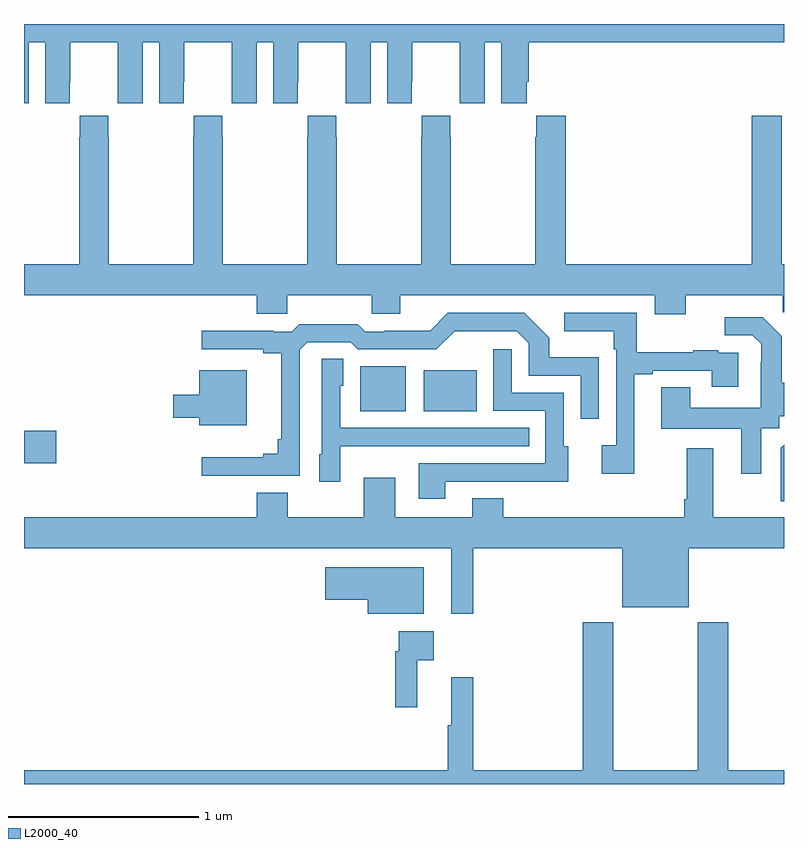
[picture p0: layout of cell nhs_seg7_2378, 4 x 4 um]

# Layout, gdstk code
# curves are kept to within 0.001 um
import gdstk
lib = gdstk.Library(unit=1e-6, precision=1e-09)
def R(c, l, rs):  # rectangles x0, y0, x1, y1
    for r in rs: c.add(gdstk.rectangle(r[:2], r[2:], *l))
def P(c, l, *ps):  # polygons
    for p in ps: c.add(gdstk.Polygon(p, *l))
L2000_40 = (2000, 40)

nhs_seg7_2378 = lib.new_cell('nhs_seg7_2378')
R(nhs_seg7_2378, L2000_40, [(265,1043.687,265.171,1043.858), (266.771,1043.963,267.01,1044.199), (267.104,1043.963,267.382,1044.178)])
P(nhs_seg7_2378, L2000_40, [(265.024,1045.904),(265.112,1045.904),(265.112,1045.584),(265.242,1045.584),(265.242,1045.696),(265.243,1045.696),(265.243,1045.904),(265.493,1045.904),(265.493,1045.696),(265.494,1045.696),(265.494,1045.584),(265.624,1045.584),(265.624,1045.904),(265.712,1045.904),(265.712,1045.584),(265.842,1045.584),(265.842,1045.696),(265.843,1045.696),(265.843,1045.904),(266.093,1045.904),(266.093,1045.696),(266.094,1045.696),(266.094,1045.584),(266.224,1045.584),(266.224,1045.904),(266.312,1045.904),(266.312,1045.584),(266.442,1045.584),(266.442,1045.696),(266.443,1045.696),(266.443,1045.904),(266.693,1045.904),(266.693,1045.696),(266.694,1045.696),(266.694,1045.584),(266.824,1045.584),(266.824,1045.904),(266.912,1045.904),(266.912,1045.584),(267.042,1045.584),(267.042,1045.696),(267.043,1045.696),(267.043,1045.904),(267.293,1045.904),(267.293,1045.696),(267.294,1045.696),(267.294,1045.584),(267.424,1045.584),(267.424,1045.904),(267.512,1045.904),(267.512,1045.584),(267.646,1045.584),(267.646,1045.696),(267.656,1045.696),(267.656,1045.904),(269,1045.904),(269,1046),(265,1046),(265,1045.584),(265.024,1045.584)],
  [(266.225,1044.474),(266.385,1044.474),(266.385,1044.572),(266.83,1044.572),(266.83,1044.474),(266.98,1044.474),(266.98,1044.572),(268.319,1044.572),(268.319,1044.473),(268.483,1044.473),(268.483,1044.572),(268.993,1044.572),(268.993,1044.482),(269,1044.482),(269,1044.736),(268.989,1044.736),(268.989,1045.516),(268.829,1045.516),(268.829,1044.736),(267.851,1044.736),(267.851,1045.516),(267.697,1045.516),(267.697,1045.403),(267.691,1045.403),(267.691,1044.736),(267.246,1044.736),(267.246,1045.403),(267.243,1045.403),(267.243,1045.516),(267.093,1045.516),(267.093,1045.403),(267.091,1045.403),(267.091,1044.736),(266.646,1044.736),(266.646,1045.403),(266.643,1045.403),(266.643,1045.516),(266.493,1045.516),(266.493,1045.403),(266.491,1045.403),(266.491,1044.736),(266.046,1044.736),(266.046,1045.403),(266.043,1045.403),(266.043,1045.516),(265.893,1045.516),(265.893,1045.403),(265.891,1045.403),(265.891,1044.736),(265.446,1044.736),(265.446,1045.403),(265.443,1045.403),(265.443,1045.516),(265.293,1045.516),(265.293,1045.403),(265.291,1045.403),(265.291,1044.736),(265,1044.736),(265,1044.572),(266.225,1044.572)],
  [(268.213,1044.156),(268.309,1044.156),(268.309,1044.174),(268.619,1044.174),(268.619,1044.09),(268.759,1044.09),(268.759,1044.27),(268.655,1044.27),(268.655,1044.283),(268.523,1044.283),(268.523,1044.272),(268.225,1044.272),(268.225,1044.48),(267.843,1044.48),(267.843,1044.383),(268.104,1044.383),(268.104,1044.287),(268.116,1044.287),(268.116,1043.782),(268.041,1043.782),(268.041,1043.634),(268.213,1043.634)],
  [(266.451,1044.285),(266.49,1044.324),(266.721,1044.324),(266.757,1044.288),(267.171,1044.288),(267.266,1044.383),(267.594,1044.384),(267.657,1044.321),(267.657,1044.15),(267.93,1044.15),(267.93,1043.922),(268.026,1043.922),(268.026,1044.247),(267.765,1044.247),(267.765,1044.35),(267.634,1044.48),(267.231,1044.48),(267.137,1044.386),(266.896,1044.386),(266.896,1044.381),(266.796,1044.381),(266.757,1044.421),(266.449,1044.421),(266.409,1044.381),(266.315,1044.381),(266.315,1044.386),(265.935,1044.386),(265.935,1044.288),(266.258,1044.288),(266.258,1044.266),(266.354,1044.266),(266.354,1043.815),(266.335,1043.815),(266.335,1043.738),(266.258,1043.738),(266.258,1043.719),(265.935,1043.719),(265.935,1043.622),(266.451,1043.622)],
  [(268.879,1043.872),(268.974,1043.872),(268.974,1043.936),(269,1043.936),(269,1044.112),(268.989,1044.112),(268.989,1044.357),(268.889,1044.457),(268.689,1044.457),(268.689,1044.363),(268.833,1044.363),(268.88,1044.316),(268.88,1044.221),(268.878,1044.221),(268.878,1043.98),(268.507,1043.98),(268.507,1044.089),(268.355,1044.089),(268.355,1043.87),(268.775,1043.87),(268.775,1043.634),(268.879,1043.634)],
  [(267.217,1043.592),(267.647,1043.592),(267.647,1043.591),(267.865,1043.591),(267.865,1043.778),(267.84,1043.778),(267.84,1044.06),(267.567,1044.06),(267.567,1044.289),(267.471,1044.289),(267.471,1043.964),(267.744,1043.964),(267.744,1043.688),(267.077,1043.688),(267.077,1043.502),(267.217,1043.502)],
  [(266.664,1043.777),(266.981,1043.777),(266.981,1043.778),(267.659,1043.778),(267.659,1043.874),(266.664,1043.874),(266.664,1044.096),(266.68,1044.096),(266.68,1044.239),(266.568,1044.239),(266.568,1043.736),(266.555,1043.736),(266.555,1043.592),(266.664,1043.592)],
  [(266.173,1044.178),(265.922,1044.178),(265.922,1044.049),(265.785,1044.049),(265.785,1043.927),(265.922,1043.927),(265.922,1043.888),(266.173,1043.888)],
  [(269,1043.786),(268.983,1043.769),(268.983,1043.489),(269,1043.489)],
  [(267.365,1043.24),(268.148,1043.24),(268.148,1042.931),(268.498,1042.931),(268.498,1043.24),(269,1043.24),(269,1043.404),(268.627,1043.404),(268.627,1043.767),(268.487,1043.767),(268.487,1043.5),(268.475,1043.5),(268.475,1043.404),(267.523,1043.404),(267.523,1043.503),(267.359,1043.503),(267.359,1043.404),(266.953,1043.404),(266.953,1043.611),(266.789,1043.611),(266.789,1043.404),(266.389,1043.404),(266.389,1043.533),(266.225,1043.533),(266.225,1043.404),(265,1043.404),(265,1043.24),(267.248,1043.24),(267.248,1042.896),(267.365,1042.896)],
  [(267.103,1043.14),(266.586,1043.14),(266.586,1042.97),(266.81,1042.97),(266.81,1042.895),(267.103,1042.895)],
  [(269,1042.072),(268.706,1042.072),(268.706,1042.852),(268.546,1042.852),(268.546,1042.072),(268.101,1042.072),(268.101,1042.852),(267.941,1042.852),(267.941,1042.072),(267.365,1042.072),(267.365,1042.561),(267.248,1042.561),(267.248,1042.308),(267.229,1042.308),(267.229,1042.072),(265,1042.072),(265,1042),(269,1042)],
  [(267.071,1042.652),(267.157,1042.652),(267.157,1042.804),(266.973,1042.804),(266.973,1042.7),(266.953,1042.7),(266.953,1042.404),(267.071,1042.404)])

lib.write_gds('nhs_seg7_2378.gds')
